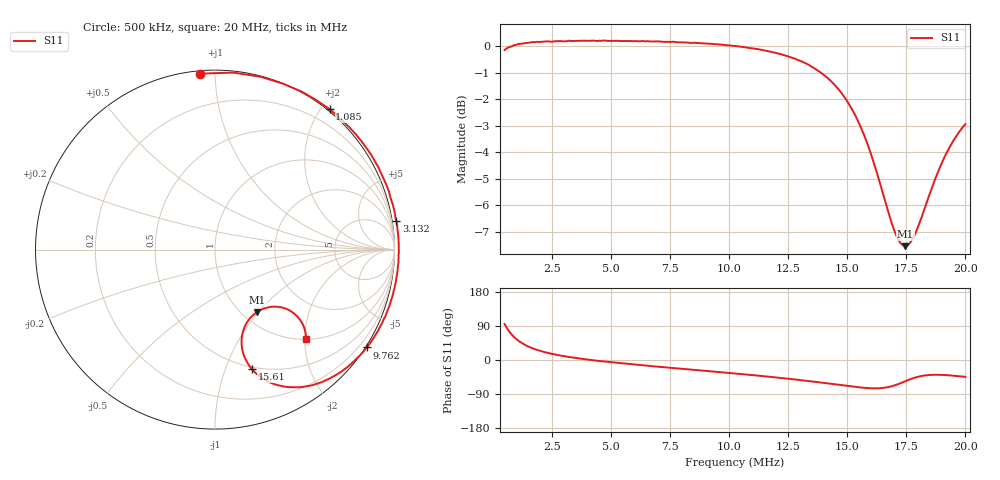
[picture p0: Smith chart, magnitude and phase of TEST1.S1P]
!Keysight Technologies,E5063A,MY54100949,A.07.00
!Date: Tue Oct 17 15:39:24 2023
!Data & Calibration Information:
!Freq	S11:SOLT2(ON)
# Hz S RI R 50
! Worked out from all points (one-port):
!   201 points, 500 kHz to 20 MHz, reference 50 ohm
!   lowest |S11| = -7.5 dB at 17.46 MHz (marker M1), VSWR 2.44, Z = 58.5 - j49.2 ohm
!   |S11| at or under -10 dB: nowhere
!   S11 on the Smith chart (normalised r, x): 500 kHz: 0.02, +0.92; 1.085 MHz: -0.03, +2.11; 3.132 MHz: -2, +13; 9.762 MHz: -0.04, -3.40; 15.61 MHz: 0.48, -1.24; 20 MHz: 1.00, -2.03
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500000  -0.0812 0.9802
597500  0.1006 0.9863
792500  0.3785 0.9244
890000  0.4838 0.8797
1085000  0.6387 0.7821
1377500  0.784 0.6428
1767500  0.8908 0.4917
2255000  0.9604 0.3467
2937500  1.004 0.1937
3132500  1.01 0.1577
4205000  1.024 -0.00741
5375000  1.012 -0.1466
7812500  0.9415 -0.385
9762500  0.8454 -0.545
1.025e7  0.8141 -0.5825
1.26875e7  0.6033 -0.7345
1.40525e7  0.4303 -0.7672
1.5125e7  0.2708 -0.7214
1.56125e7  0.2058 -0.6656
1.61e7  0.1598 -0.5857
1.65875e7  0.1492 -0.4908
1.7075e7  0.1821 -0.3998
1.7465e7  0.2357 -0.3468
1.75625e7  0.2517 -0.3376
1.79525e7  0.3193 -0.3181
1.844e7  0.3994 -0.3312
1.91225e7  0.4763 -0.3948
2e7  0.5078 -0.5001
